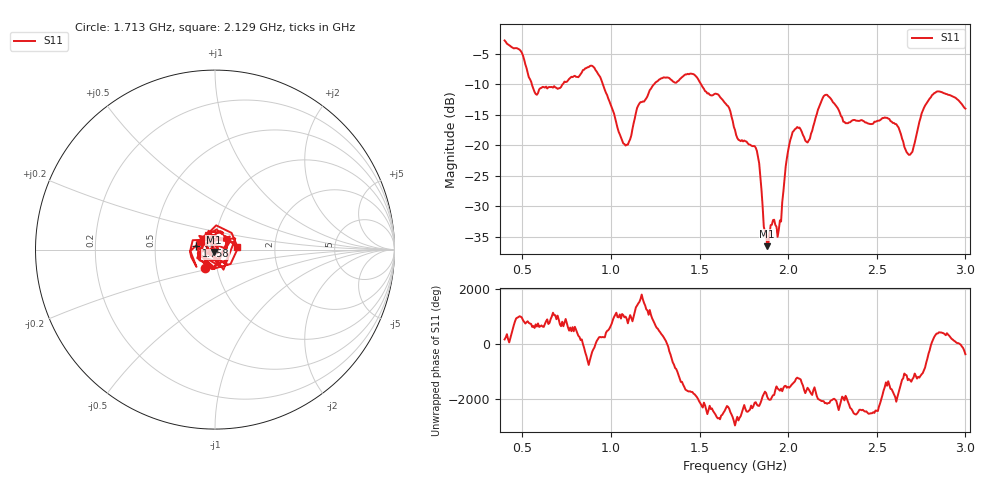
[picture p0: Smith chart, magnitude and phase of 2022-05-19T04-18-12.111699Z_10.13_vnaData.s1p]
!Created with skrf (http://scikit-rf.org).
# Hz S RI R 50.0
!freq ReS11 ImS11
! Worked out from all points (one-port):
!   401 points, 400 MHz to 3 GHz, reference 50 ohm
!   lowest |S11| = -36.5 dB at 1.882 GHz (marker M1), VSWR 1.03, Z = 49.4 - j1.37 ohm
!   |S11| at or under -10 dB: 553.5 MHz to 728.4 MHz (174.9 MHz wide, 27.3 % of centre); 954 MHz to 1.244 GHz (290.2 MHz wide, 26.4 % of centre); 1.508 GHz to end of sweep
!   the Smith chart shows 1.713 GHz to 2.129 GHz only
!   S11 on the Smith chart (normalised r, x): 1.713 GHz: 0.88, -0.18; 1.758 GHz: 0.81, +0.03; 2.129 GHz: 1.28, +0.04
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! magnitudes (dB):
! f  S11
! 400 MHz  -2.9
! 491 MHz  -4.6
! 575.5 MHz  -11.6
! 725 MHz  -10.1
! 900.5 MHz  -7.2
! 1.05 GHz  -18.2
! 1.095 GHz  -19.9
! 1.154 GHz  -13.5
! 1.258 GHz  -9.6
! 1.375 GHz  -9.6
! 1.46 GHz  -8.3
! 1.609 GHz  -11.8
! 1.7 GHz  -17.5
! 1.713 GHz  -18.8
! 1.758 GHz  -19.3
! 1.823 GHz  -20.9
! 1.869 GHz  -34.1
! 1.882 GHz  -36.5
! 1.947 GHz  -33.8
! 1.999 GHz  -21.0
! 2.025 GHz  -17.8
! 2.129 GHz  -18.1
! 2.213 GHz  -11.7
! 2.35 GHz  -16.2
! 2.558 GHz  -15.5
! 2.675 GHz  -21.4
! 2.825 GHz  -11.5
! 3 GHz  -14.0
